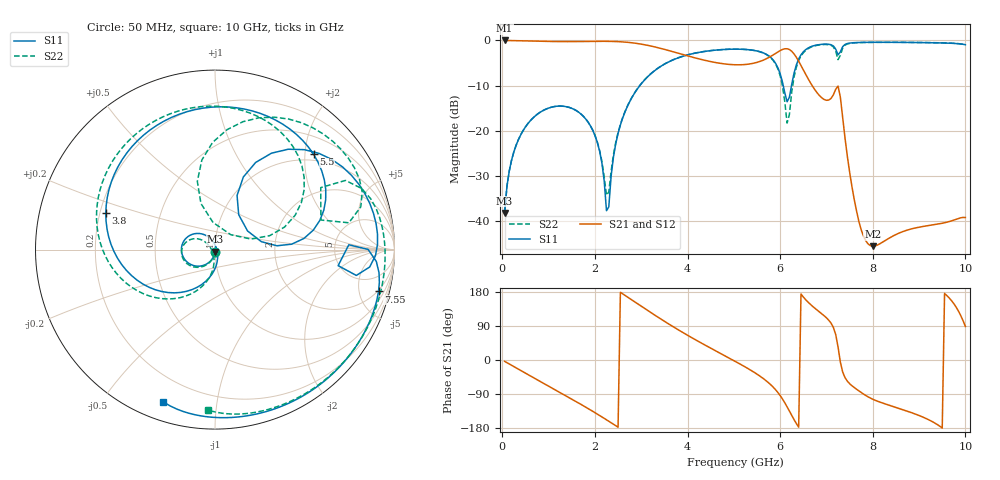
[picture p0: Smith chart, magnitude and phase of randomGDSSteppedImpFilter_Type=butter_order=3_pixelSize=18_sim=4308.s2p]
! freq	dB(S11)	phase(S11)	dB(S12)	phase(S12)
!  dB(S21)	phase(S21)	dB(S22)	phase(S22)
!S-par simulation data
#  GHz  S  DB  R 50
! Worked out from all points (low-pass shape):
!   200 points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, 50 MHz to 10 GHz, reference 50 ohm
!   highest |S21| = -0.01 dB at 50 MHz (marker M1); lowest = -45.6 dB at 8 GHz (marker M2)
!   |S21| within 3 dB of the highest: start of sweep to 3.858 GHz; 5.881 GHz to 6.301 GHz (419.9 MHz wide, 6.89 % of centre)
!   lowest |S11| = -38.2 dB at 50 MHz (marker M3), VSWR 1.02, Z = 49.9 - j1.22 ohm
!   |S11| at or under -10 dB: start of sweep to 2.972 GHz; 6.066 GHz to 6.246 GHz (179.5 MHz wide, 2.92 % of centre)
!   |S22| runs from -38.2 to -0.4 dB; largest |S21 - S12| = 0
!   S11 on the Smith chart (normalised r, x): 50 MHz: 1.00, -0.02; 3.8 GHz: 0.22, +0.15; 5.5 GHz: 0.86, +2.19; 7.55 GHz: 1.86, -7.49; 10 GHz: 0.08, -0.71
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0.05  -38.23 -91.9  -0.01 -3.5  -0.01 -3.5  -38.22 -91.6
0.2  -26.55 -104.2  -0.03 -14.0  -0.03 -14.0  -26.55 -103.1
0.55  -18.48 -130.2  -0.12 -38.2  -0.12 -38.2  -18.47 -127.0
1.15  -14.62 -173.1  -0.25 -79.1  -0.25 -79.1  -14.62 -165.9
1.75  -16.82 142.2  -0.24 -120.7  -0.24 -120.7  -16.81 156.5
2.1  -24.47 109.9  -0.20 -146.3  -0.20 -146.3  -24.32 142.0
2.25  -37.74 57.4  -0.20 -157.8  -0.20 -157.8  -34.33 -178.6
2.6  -17.19 -97.0  -0.33 174.6  -0.33 174.6  -17.08 -99.2
3.4  -5.89 -166.9  -1.71 110.0  -1.71 110.0  -5.86 -155.6
3.8  -3.86 161.6  -2.84 79.7  -2.84 79.7  -3.84 176.0
5.05  -1.94 75.0  -5.40 -5.0  -5.40 -5.0  -1.93 95.6
5.5  -2.34 44.0  -4.87 -37.3  -4.87 -37.3  -2.35 64.9
5.95  -6.04 7.1  -2.56 -85.7  -2.56 -85.7  -6.28 23.1
6.15  -13.59 29.7  -1.85 -123.6  -1.85 -123.6  -18.32 43.0
6.35  -5.41 65.0  -3.75 -167.7  -3.75 -167.7  -5.95 98.4
6.7  -1.25 28.5  -10.16 141.7  -10.16 141.7  -1.36 55.7
7.1  -0.97 -2.1  -12.84 97.0  -12.84 97.0  -1.10 21.5
7.25  -3.20 -7.4  -10.13 34.5  -10.13 34.5  -4.26 15.6
7.55  -0.53 -14.3  -32.40 -67.9  -32.40 -67.9  -0.59 10.9
8  -0.42 -35.2  -45.61 -103.6  -45.61 -103.6  -0.43 -12.2
8.35  -0.42 -48.6  -43.85 -119.1  -43.85 -119.1  -0.42 -27.0
10  -0.96 -108.8  -39.26 88.5  -39.26 88.5  -0.95 -92.3
